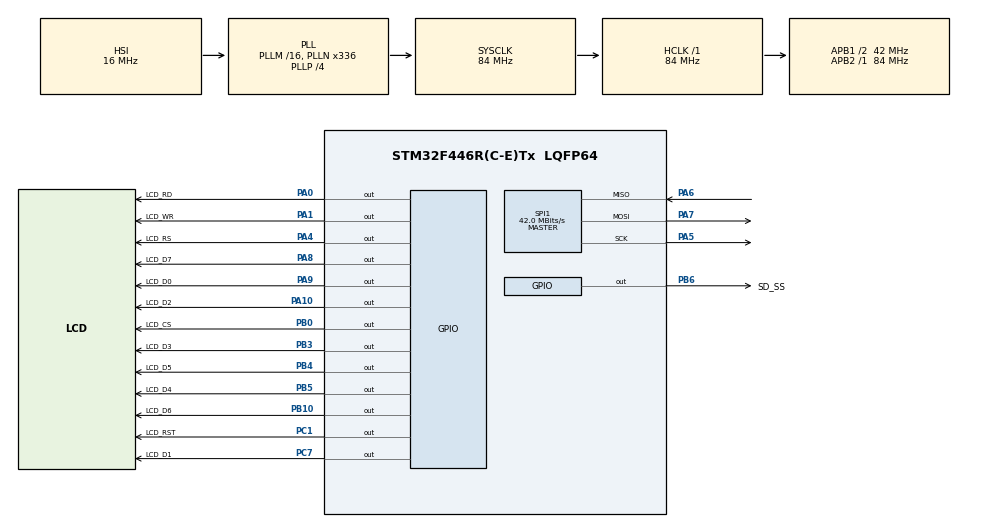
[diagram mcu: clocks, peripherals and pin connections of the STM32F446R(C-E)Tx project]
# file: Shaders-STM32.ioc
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Mcu.Family=STM32F4
Mcu.Name=STM32F446R(C-E)Tx
Mcu.Package=LQFP64
NVIC.PriorityGroup=NVIC_PRIORITYGROUP_0
PA0-WKUP.GPIO_Label=LCD_RD
PA0-WKUP.GPIO_Speed=GPIO_SPEED_FREQ_HIGH
PA0-WKUP.PinState=GPIO_PIN_RESET
PA0-WKUP.Signal=GPIO_Output
PA1.GPIO_Label=LCD_WR
PA1.GPIO_Speed=GPIO_SPEED_FREQ_HIGH
PA1.Signal=GPIO_Output
PA10.GPIO_Label=LCD_D2
PA10.GPIO_Speed=GPIO_SPEED_FREQ_HIGH
PA10.Signal=GPIO_Output
PA13.Mode=Serial_Wire
PA13.Signal=SYS_JTMS-SWDIO
PA14.Mode=Serial_Wire
PA14.Signal=SYS_JTCK-SWCLK
PA4.GPIO_Label=LCD_RS
PA4.GPIO_Speed=GPIO_SPEED_FREQ_HIGH
PA4.Signal=GPIO_Output
PA5.Mode=Full_Duplex_Master
PA5.Signal=SPI1_SCK
PA6.Mode=Full_Duplex_Master
PA6.Signal=SPI1_MISO
PA7.Mode=Full_Duplex_Master
PA7.Signal=SPI1_MOSI
PA8.GPIO_Label=LCD_D7
PA8.GPIO_Speed=GPIO_SPEED_FREQ_HIGH
PA8.Signal=GPIO_Output
PA9.GPIO_Label=LCD_D0
PA9.GPIO_Speed=GPIO_SPEED_FREQ_HIGH
PA9.Signal=GPIO_Output
PB0.GPIO_Label=LCD_CS
PB0.GPIO_Speed=GPIO_SPEED_FREQ_HIGH
PB0.Signal=GPIO_Output
PB10.GPIO_Label=LCD_D6
PB10.GPIO_Speed=GPIO_SPEED_FREQ_HIGH
PB10.Signal=GPIO_Output
PB3.GPIO_Label=LCD_D3
PB3.GPIO_Speed=GPIO_SPEED_FREQ_HIGH
PB3.Signal=GPIO_Output
PB4.GPIO_Label=LCD_D5
PB4.GPIO_Speed=GPIO_SPEED_FREQ_HIGH
PB4.Signal=GPIO_Output
PB5.GPIO_Label=LCD_D4
PB5.GPIO_Speed=GPIO_SPEED_FREQ_HIGH
PB5.Signal=GPIO_Output
PB6.GPIO_Label=SD_SS
PB6.GPIO_Speed=GPIO_SPEED_FREQ_HIGH
PB6.Signal=GPIO_Output
PC1.GPIO_Label=LCD_RST
PC1.GPIO_Speed=GPIO_SPEED_FREQ_HIGH
PC1.Signal=GPIO_Output
PC7.GPIO_Label=LCD_D1
PC7.GPIO_Speed=GPIO_SPEED_FREQ_HIGH
PC7.Signal=GPIO_Output
PH0-OSC_IN.Mode=HSE-External-Oscillator
PH0-OSC_IN.Signal=RCC_OSC_IN
PH1-OSC_OUT.Mode=HSE-External-Oscillator
PH1-OSC_OUT.Signal=RCC_OSC_OUT
ProjectManager.HeapSize=0x200
ProjectManager.StackSize=0x400
ProjectManager.TargetToolchain=STM32CubeIDE
RCC.48MHZClocksFreq_Value=84000000
RCC.AHBFreq_Value=84000000
RCC.APB1CLKDivider=RCC_HCLK_DIV2
RCC.APB1Freq_Value=42000000
RCC.APB1TimFreq_Value=84000000
RCC.APB2Freq_Value=84000000
RCC.APB2TimFreq_Value=84000000
RCC.CortexFreq_Value=84000000
RCC.FLatency-AdvancedSettings=FLASH_LATENCY_2
RCC.HCLKFreq_Value=84000000
RCC.HSE_VALUE=8000000
RCC.HSI_VALUE=16000000
RCC.PLLN=336
RCC.PLLP=RCC_PLLP_DIV4
RCC.SYSCLKFreq_VALUE=84000000
RCC.SYSCLKSource=RCC_SYSCLKSOURCE_PLLCLK
RCC.USBFreq_Value=168000000
RCC.VCOOutputFreq_Value=336000000
SPI1.CalculateBaudRate=42.0 MBits/s
SPI1.Direction=SPI_DIRECTION_2LINES
SPI1.Mode=SPI_MODE_MASTER
SPI1.VirtualType=VM_MASTER
board=NUCLEO-F446RE

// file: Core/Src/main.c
/* USER CODE BEGIN Header */
/**
  ******************************************************************************
  * @file           : main.c
  * @brief          : Solar System 3D Renderer - STM32F446RE
  ******************************************************************************
  */
/* USER CODE END Header */

#include "main.h"

/* USER CODE BEGIN Includes */
#include "../../Drivers/LCD/lcd_driver.h"
#include "../../Utils/math3d.h"
#include "../../SolarSystem/celestial_body.h"
#include "../../SolarSystem/camera.h"
#include "../../SolarSystem/solar_system.h"
#include "../../Graphics/renderer.h"
#include <stdio.h>
#include <string.h>
/* USER CODE END Includes */

SPI_HandleTypeDef hspi1;

/* USER CODE BEGIN PV */
Camera camera;
SolarSystem solarSystem;
uint32_t lastTick = 0;
float deltaTime = 0.0f;
uint32_t frameCount = 0;
float fps = 0.0f;
uint32_t fpsTimer = 0;
uint32_t warpTimer = 0;
uint8_t currentPlanetIndex = 1;
uint8_t showOrbits = 1;
uint8_t mode3D = 0;
/* USER CODE END PV */

void SystemClock_Config(void);
static void MX_GPIO_Init(void);
static void MX_SPI1_Init(void);
/* USER CODE BEGIN PFP */
void Game_Init(void);
void Game_Update(void);
void Game_Render(void);
void Game_ProcessInput(void);
/* USER CODE END PFP */

/* USER CODE BEGIN 0 */

void Game_Init(void)
{
    LCD_Init();
    LCD_Clear(COLOR_SPACE);

    LCD_FillRect(60, 100, 200, 40, COLOR_BLUE);
    HAL_Delay(500);

    float aspect = (float)LCD_WIDTH / (float)LCD_HEIGHT;
    Camera_Init(&camera, 60.0f, aspect);

    camera.distance = 200.0f;
    camera.height = 100.0f;
    camera.angle = 0.0f;

    SolarSystem_Init(&solarSystem);
    solarSystem.time_scale = 0.8f;

    Renderer_Init();

    lastTick = HAL_GetTick();
    fpsTimer = lastTick;
    warpTimer = lastTick;

    LCD_Clear(COLOR_SPACE);
    Renderer_DrawStars(12345, 80);

    if (showOrbits) {
        SolarSystem_RenderOrbits(&solarSystem, &camera);
    }
}

void Game_Update(void)
{
    uint32_t currentTick = HAL_GetTick();
    deltaTime = (currentTick - lastTick) / 1000.0f;
    lastTick = currentTick;

    if (deltaTime > 0.1f) deltaTime = 0.1f;
    if (deltaTime < 0.001f) deltaTime = 0.001f;

    Game_ProcessInput();

    Camera_Update(&camera, deltaTime);
    SolarSystem_Update(&solarSystem, deltaTime);

    frameCount++;
    if (currentTick - fpsTimer >= 1000) {
        fps = frameCount;
        frameCount = 0;
        fpsTimer = currentTick;
    }
}

void Game_Render(void)
{
    SolarSystem_Render(&solarSystem, &camera);

    if (mode3D) {
        LCD_FillRect(LCD_WIDTH - 30, 5, 25, 10, COLOR_GREEN);
    }

    if (camera.is_warping) {
        LCD_FillRect(5, LCD_HEIGHT - 15, 40, 10, COLOR_CYAN);
    }
}

void Game_ProcessInput(void)
{
}

/* USER CODE END 0 */

int main(void)
{
  HAL_Init();
  SystemClock_Config();
  MX_GPIO_Init();
  MX_SPI1_Init();

  /* USER CODE BEGIN 2 */
  Game_Init();
  /* USER CODE END 2 */

  while (1)
  {
    /* USER CODE BEGIN 3 */
    Game_Update();
    Game_Render();
  }
  /* USER CODE END 3 */
}

void SystemClock_Config(void)
{
  RCC_OscInitTypeDef RCC_OscInitStruct = {0};
  RCC_ClkInitTypeDef RCC_ClkInitStruct = {0};

  __HAL_RCC_PWR_CLK_ENABLE();
  __HAL_PWR_VOLTAGESCALING_CONFIG(PWR_REGULATOR_VOLTAGE_SCALE3);

  RCC_OscInitStruct.OscillatorType = RCC_OSCILLATORTYPE_HSI;
  RCC_OscInitStruct.HSIState = RCC_HSI_ON;
  RCC_OscInitStruct.HSICalibrationValue = RCC_HSICALIBRATION_DEFAULT;
  RCC_OscInitStruct.PLL.PLLState = RCC_PLL_ON;
  RCC_OscInitStruct.PLL.PLLSource = RCC_PLLSOURCE_HSI;
  RCC_OscInitStruct.PLL.PLLM = 16;
  RCC_OscInitStruct.PLL.PLLN = 336;
  RCC_OscInitStruct.PLL.PLLP = RCC_PLLP_DIV4;
  RCC_OscInitStruct.PLL.PLLQ = 2;
  RCC_OscInitStruct.PLL.PLLR = 2;
  if (HAL_RCC_OscConfig(&RCC_OscInitStruct) != HAL_OK)
  {
    Error_Handler();
  }

  RCC_ClkInitStruct.ClockType = RCC_CLOCKTYPE_HCLK|RCC_CLOCKTYPE_SYSCLK
                              |RCC_CLOCKTYPE_PCLK1|RCC_CLOCKTYPE_PCLK2;
  RCC_ClkInitStruct.SYSCLKSource = RCC_SYSCLKSOURCE_PLLCLK;
  RCC_ClkInitStruct.AHBCLKDivider = RCC_SYSCLK_DIV1;
  RCC_ClkInitStruct.APB1CLKDivider = RCC_HCLK_DIV2;
  RCC_ClkInitStruct.APB2CLKDivider = RCC_HCLK_DIV1;

  if (HAL_RCC_ClockConfig(&RCC_ClkInitStruct, FLASH_LATENCY_2) != HAL_OK)
  {
    Error_Handler();
  }
}

static void MX_SPI1_Init(void)
{
  hspi1.Instance = SPI1;
  hspi1.Init.Mode = SPI_MODE_MASTER;
  hspi1.Init.Direction = SPI_DIRECTION_2LINES;
  hspi1.Init.DataSize = SPI_DATASIZE_8BIT;
  hspi1.Init.CLKPolarity = SPI_POLARITY_LOW;
  hspi1.Init.CLKPhase = SPI_PHASE_1EDGE;
  hspi1.Init.NSS = SPI_NSS_SOFT;
  hspi1.Init.BaudRatePrescaler = SPI_BAUDRATEPRESCALER_2;
  hspi1.Init.FirstBit = SPI_FIRSTBIT_MSB;
  hspi1.Init.TIMode = SPI_TIMODE_DISABLE;
  hspi1.Init.CRCCalculation = SPI_CRCCALCULATION_DISABLE;
  hspi1.Init.CRCPolynomial = 10;
  if (HAL_SPI_Init(&hspi1) != HAL_OK)
  {
    Error_Handler();
  }
}

static void MX_GPIO_Init(void)
{
  GPIO_InitTypeDef GPIO_InitStruct = {0};

  __HAL_RCC_GPIOH_CLK_ENABLE();
  __HAL_RCC_GPIOC_CLK_ENABLE();
  __HAL_RCC_GPIOA_CLK_ENABLE();
  __HAL_RCC_GPIOB_CLK_ENABLE();

  HAL_GPIO_WritePin(GPIOC, LCD_RST_Pin|LCD_D1_Pin, GPIO_PIN_RESET);
  HAL_GPIO_WritePin(GPIOA, LCD_RD_Pin|LCD_WR_Pin|LCD_RS_Pin|LCD_D7_Pin|LCD_D0_Pin|LCD_D2_Pin, GPIO_PIN_RESET);
  HAL_GPIO_WritePin(GPIOB, LCD_CS_Pin|LCD_D6_Pin|LCD_D3_Pin|LCD_D5_Pin|LCD_D4_Pin|SD_SS_Pin, GPIO_PIN_RESET);

  GPIO_InitStruct.Pin = LCD_RST_Pin|LCD_D1_Pin;
  GPIO_InitStruct.Mode = GPIO_MODE_OUTPUT_PP;
  GPIO_InitStruct.Pull = GPIO_NOPULL;
  GPIO_InitStruct.Speed = GPIO_SPEED_FREQ_HIGH;
  HAL_GPIO_Init(GPIOC, &GPIO_InitStruct);

  GPIO_InitStruct.Pin = LCD_RD_Pin|LCD_WR_Pin|LCD_RS_Pin|LCD_D7_Pin|LCD_D0_Pin|LCD_D2_Pin;
  HAL_GPIO_Init(GPIOA, &GPIO_InitStruct);

  GPIO_InitStruct.Pin = LCD_CS_Pin|LCD_D6_Pin|LCD_D3_Pin|LCD_D5_Pin|LCD_D4_Pin|SD_SS_Pin;
  HAL_GPIO_Init(GPIOB, &GPIO_InitStruct);
}

void Error_Handler(void)
{
  __disable_irq();
  while (1)
  {
  }
}
